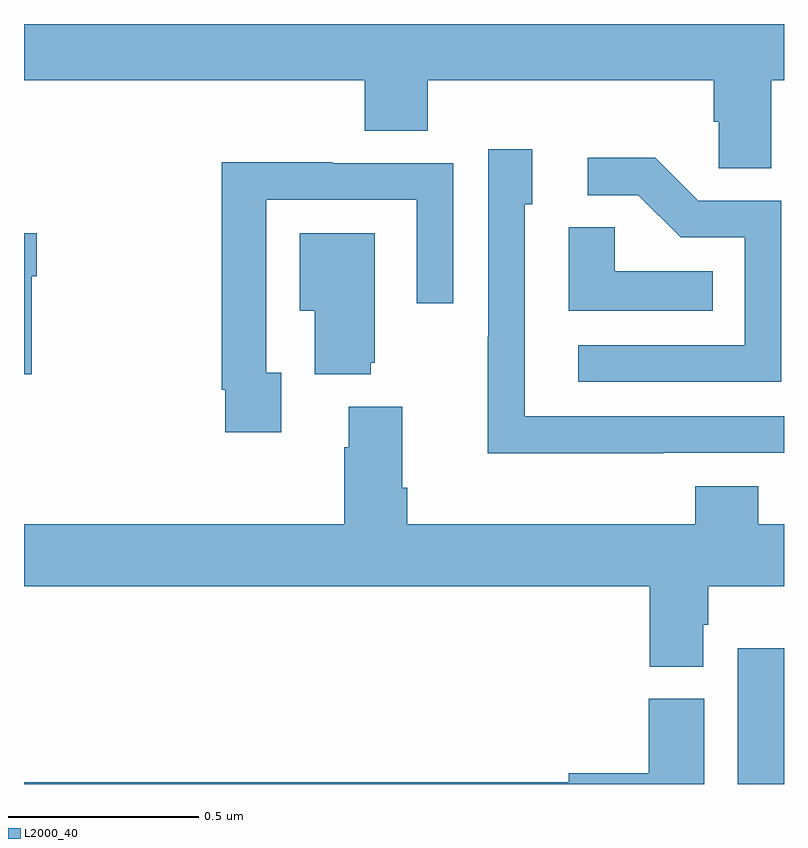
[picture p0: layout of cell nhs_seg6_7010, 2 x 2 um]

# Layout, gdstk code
import gdstk
lib = gdstk.Library(unit=1e-6, precision=1e-09)
def R(c, l, rs):  # rectangles x0, y0, x1, y1
    for r in rs: c.add(gdstk.rectangle(r[:2], r[2:], *l))
def P(c, l, *ps):  # polygons
    for p in ps: c.add(gdstk.Polygon(p, *l))
L2000_40 = (2000, 40)

nhs_seg6_7010 = lib.new_cell('nhs_seg6_7010')
R(nhs_seg6_7010, L2000_40, [(204.878,929.5,205,929.857)])
P(nhs_seg6_7010, L2000_40, [(204.967,931.352),(205,931.352),(205,931.5),(203,931.5),(203,931.352),(203.897,931.352),(203.897,931.219),(204.062,931.219),(204.062,931.352),(204.815,931.352),(204.815,931.243),(204.828,931.243),(204.828,931.12),(204.967,931.12)],
  [(204.683,930.372),(205,930.372),(205,930.468),(204.318,930.468),(204.318,931.026),(204.337,931.026),(204.337,931.171),(204.222,931.171),(204.222,930.677),(204.22,930.677),(204.22,930.371),(204.683,930.371)],
  [(204.993,931.035),(204.774,931.035),(204.661,931.148),(204.483,931.148),(204.483,931.05),(204.617,931.05),(204.728,930.939),(204.897,930.939),(204.897,930.654),(204.459,930.654),(204.459,930.558),(204.993,930.558)],
  [(203.677,930.582),(203.637,930.582),(203.637,931.038),(204.033,931.038),(204.033,930.765),(204.129,930.765),(204.129,931.134),(203.813,931.134),(203.813,931.136),(203.521,931.136),(203.521,930.538),(203.529,930.538),(203.529,930.426),(203.677,930.426)],
  [(204.812,930.85),(204.555,930.85),(204.555,930.965),(204.434,930.965),(204.434,930.746),(204.812,930.746)],
  [(203.02,930.836),(203.033,930.836),(203.033,930.949),(203,930.949),(203,930.578),(203.02,930.578)],
  [(203.912,930.609),(203.923,930.609),(203.923,930.949),(203.726,930.949),(203.726,930.746),(203.765,930.746),(203.765,930.578),(203.912,930.578)],
  [(204.787,929.919),(204.8,929.919),(204.8,930.02),(205,930.02),(205,930.184),(204.932,930.184),(204.932,930.283),(204.767,930.283),(204.767,930.184),(204.008,930.184),(204.008,930.28),(203.995,930.28),(203.995,930.493),(203.855,930.493),(203.855,930.386),(203.843,930.386),(203.843,930.184),(203,930.184),(203,930.02),(204.647,930.02),(204.647,929.809),(204.787,929.809)],
  [(204.79,929.724),(204.644,929.724),(204.644,929.528),(204.434,929.528),(204.434,929.504),(203,929.504),(203,929.5),(204.79,929.5)])

lib.write_gds('nhs_seg6_7010.gds')
